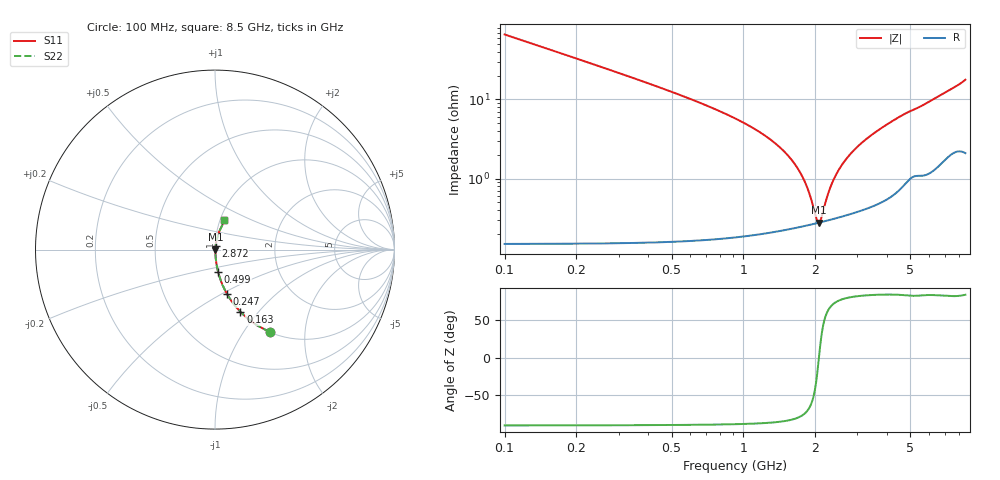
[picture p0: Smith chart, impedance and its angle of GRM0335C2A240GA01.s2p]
!Murata Part Number: GRM0335C2A240GA01
!These Parameters are Measured in Series Mode Connection
!Data Generated on Mar 30, 2021
!  o--ll--o
!Port1  Port2
!  o------o
!Operation Temp=25[degC], DC Bias Voltage=0[V]
!Freq. Start=100[MHz] Stop=9[GHz] 401[Steps]
# Hz S RI R 50
!Freq.(Hz) S11(Real) S11(Imag) S21(Real) S21(Imag) S12(Real) S12(Imag) S22(Real) S22(Imag)
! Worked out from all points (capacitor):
!   401 points, 100 MHz to 8.5 GHz, reference 50 ohm
!   read as one part in series: C = 24 pF near 142 MHz
!   lowest |Z| = 278 mohm at 2.074 GHz (marker M1)
!   series resonance near 2.071 GHz, so ESL is about 250 pH
!   S11 on the Smith chart (normalised r, x): 100 MHz: 1.00, -1.32; 163 MHz: 1.00, -0.81; 247 MHz: 1.00, -0.53; 499 MHz: 1.00, -0.25; 2.872 GHz: 1.01, +0.04; 8.5 GHz: 1.04, +0.35
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1e8  0.3049 -0.4592  0.6951 0.4592  0.6951 0.4592  0.3049 -0.4592
1.63e8  0.1414 -0.3466  0.8586 0.3466  0.8586 0.3466  0.1414 -0.3466
2.47e8  0.0667 -0.2466  0.9333 0.2466  0.9333 0.2466  0.0667 -0.2466
3.52e8  0.0338 -0.1765  0.9662 0.1765  0.9662 0.1765  0.0338 -0.1765
4.99e8  0.0169 -0.1229  0.9831 0.1229  0.9831 0.1229  0.0169 -0.1229
8.77e8  0.00559 -0.0616  0.9944 0.0616  0.9944 0.0616  0.00559 -0.0616
1.507e9  0.00267 -0.0207  0.9973 0.0207  0.9973 0.0207  0.00267 -0.0207
1.78e9  0.00259 -0.00972  0.9974 0.00972  0.9974 0.00972  0.00259 -0.00972
1.885e9  0.00263 -0.00603  0.9974 0.00603  0.9974 0.00603  0.00263 -0.00603
2.011e9  0.00271 -0.00188  0.9973 0.00188  0.9973 0.00188  0.00271 -0.00188
2.074e9  0.00277 0.0001  0.9972 -0.0001  0.9972 -0.0001  0.00277 0.0001
2.116e9  0.00282 0.00139  0.9972 -0.00139  0.9972 -0.00139  0.00282 0.00139
2.284e9  0.00302 0.00632  0.997 -0.00632  0.997 -0.00632  0.00302 0.00632
2.41e9  0.00321 0.00982  0.9968 -0.00982  0.9968 -0.00982  0.00321 0.00982
2.62e9  0.00358 0.0154  0.9964 -0.0154  0.9964 -0.0154  0.00358 0.0154
2.872e9  0.0041 0.0217  0.9959 -0.0217  0.9959 -0.0217  0.0041 0.0217
2.914e9  0.00419 0.0227  0.9958 -0.0227  0.9958 -0.0227  0.00419 0.0227
3.481e9  0.00574 0.0359  0.9943 -0.0359  0.9943 -0.0359  0.00574 0.0359
4.3e9  0.00931 0.0544  0.9907 -0.0544  0.9907 -0.0544  0.00931 0.0544
5.707e9  0.0179 0.0831  0.9821 -0.0831  0.9821 -0.0831  0.0179 0.0831
7.114e9  0.0324 0.1188  0.9676 -0.1188  0.9676 -0.1188  0.0324 0.1188
8.5e9  0.0489 0.1643  0.9511 -0.1643  0.9511 -0.1643  0.0489 0.1643
